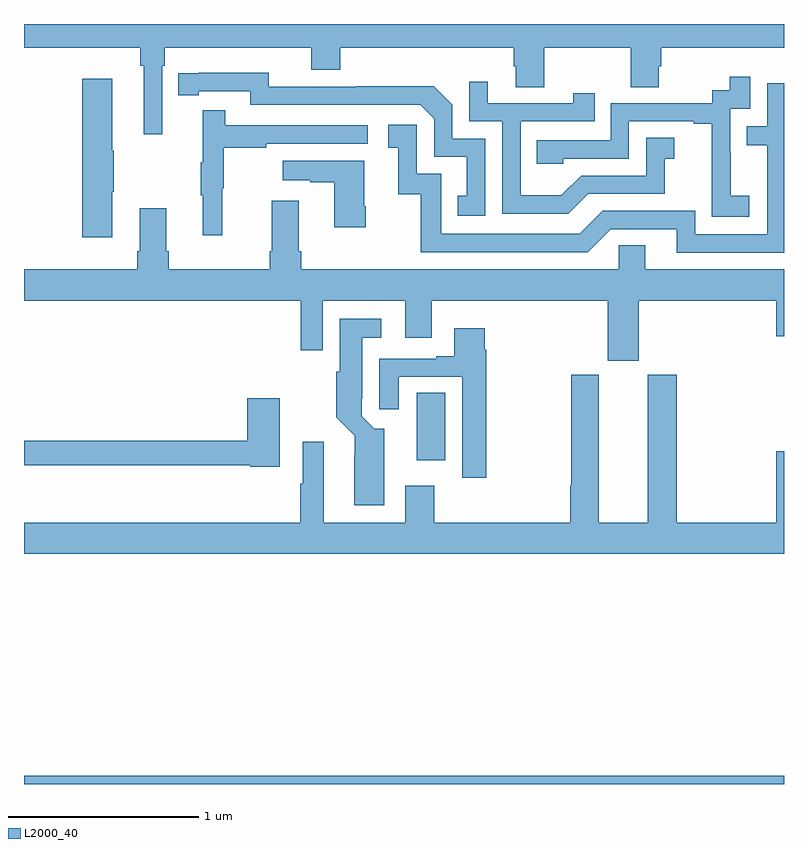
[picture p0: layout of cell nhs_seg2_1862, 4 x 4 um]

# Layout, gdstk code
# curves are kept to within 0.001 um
import gdstk
lib = gdstk.Library(unit=1e-6, precision=1e-09)
def R(c, l, rs):  # rectangles x0, y0, x1, y1
    for r in rs: c.add(gdstk.rectangle(r[:2], r[2:], *l))
def P(c, l, *ps):  # polygons
    for p in ps: c.add(gdstk.Polygon(p, *l))
L2000_40 = (2000, 40)

nhs_seg2_1862 = lib.new_cell('nhs_seg2_1862')
R(nhs_seg2_1862, L2000_40, [(209,603.8,213,603.844), (211.067,605.505,211.216,605.858)])
P(nhs_seg2_1862, L2000_40, [(209.727,607.58),(209.741,607.58),(209.741,607.676),(210.512,607.676),(210.512,607.559),(210.665,607.559),(210.665,607.676),(211.577,607.676),(211.577,607.578),(211.589,607.578),(211.589,607.468),(211.737,607.468),(211.737,607.676),(212.194,607.676),(212.194,607.468),(212.341,607.468),(212.341,607.578),(212.354,607.578),(212.354,607.676),(213,607.676),(213,607.8),(209,607.8),(209,607.676),(209.611,607.676),(209.611,607.58),(209.63,607.58),(209.63,607.221),(209.727,607.221)],
  [(211.428,607.197),(211.254,607.197),(211.254,607.374),(211.156,607.472),(210.748,607.472),(210.748,607.47),(210.288,607.47),(210.288,607.543),(209.812,607.542),(209.812,607.426),(209.92,607.426),(209.92,607.446),(210.192,607.446),(210.192,607.374),(211.086,607.374),(211.158,607.302),(211.158,607.101),(211.331,607.101),(211.331,606.897),(211.282,606.897),(211.282,606.792),(211.428,606.792)],
  [(212.818,606.895),(212.72,606.895),(212.72,607.124),(212.718,607.124),(212.718,607.353),(212.823,607.353),(212.823,607.522),(212.715,607.522),(212.715,607.452),(212.622,607.452),(212.622,607.383),(212.088,607.383),(212.088,607.188),(211.699,607.188),(211.699,607.065),(211.839,607.065),(211.839,607.092),(212.184,607.092),(212.184,607.287),(212.525,607.287),(212.525,607.275),(212.621,607.275),(212.621,606.991),(212.62,606.991),(212.62,606.785),(212.818,606.785)],
  [(209.464,606.916),(209.472,606.916),(209.472,607.133),(209.464,607.133),(209.464,607.513),(209.306,607.513),(209.306,606.678),(209.464,606.678)],
  [(211.969,606.906),(212.373,606.906),(212.373,607.091),(212.422,607.091),(212.422,607.201),(212.274,607.201),(212.274,607.002),(211.932,607.002),(211.828,606.898),(211.614,606.898),(211.614,607.287),(212.003,607.287),(212.003,607.435),(211.892,607.435),(211.892,607.383),(211.441,607.383),(211.441,607.495),(211.344,607.495),(211.344,607.287),(211.518,607.287),(211.518,606.801),(211.864,606.801)],
  [(213,607.488),(212.913,607.488),(212.913,607.263),(212.803,607.263),(212.803,607.162),(212.913,607.162),(212.913,606.693),(212.532,606.693),(212.532,606.816),(212.046,606.816),(211.926,606.696),(211.197,606.696),(211.197,607.011),(211.068,607.011),(211.068,607.27),(210.918,607.27),(210.918,607.149),(210.971,607.149),(210.971,606.903),(211.089,606.903),(211.089,606.6),(211.968,606.6),(212.088,606.72),(212.435,606.72),(212.435,606.597),(213,606.597)],
  [(210.044,606.936),(210.052,606.936),(210.052,607.15),(210.275,607.15),(210.275,607.17),(210.808,607.17),(210.808,607.266),(210.059,607.266),(210.059,607.345),(209.942,607.345),(209.942,607.073),(209.931,607.073),(209.931,606.899),(209.942,606.899),(209.942,606.687),(210.044,606.687)],
  [(210.798,606.841),(210.79,606.841),(210.79,607.081),(210.363,607.081),(210.363,606.977),(210.506,606.977),(210.506,606.967),(210.632,606.967),(210.632,606.729),(210.798,606.729)],
  [(212.236,606.344),(212.96,606.344),(212.96,606.156),(213,606.156),(213,606.508),(212.269,606.508),(212.269,606.635),(212.13,606.635),(212.13,606.508),(210.458,606.508),(210.458,606.604),(210.445,606.604),(210.445,606.871),(210.305,606.871),(210.305,606.604),(210.293,606.604),(210.293,606.508),(209.762,606.508),(209.762,606.604),(209.749,606.604),(209.749,606.829),(209.609,606.829),(209.609,606.604),(209.597,606.604),(209.597,606.508),(209,606.508),(209,606.344),(210.457,606.344),(210.457,606.084),(210.573,606.084),(210.573,606.344),(211.007,606.344),(211.007,606.15),(211.147,606.15),(211.147,606.344),(212.072,606.344),(212.072,606.027),(212.236,606.027)],
  [(210.895,605.67),(210.843,605.67),(210.777,605.736),(210.777,605.83),(210.781,605.83),(210.781,606.149),(210.88,606.149),(210.88,606.25),(210.662,606.25),(210.662,605.97),(210.644,605.97),(210.644,605.729),(210.741,605.632),(210.741,605.534),(210.737,605.534),(210.737,605.267),(210.895,605.267)],
  [(211.434,606.086),(211.426,606.086),(211.426,606.199),(211.265,606.199),(211.265,606.052),(211.169,606.052),(211.169,606.039),(210.869,606.039),(210.869,605.772),(210.973,605.772),(210.973,605.943),(211.307,605.943),(211.307,605.412),(211.434,605.412)],
  [(213,605.551),(212.96,605.551),(212.96,605.176),(212.435,605.176),(212.435,605.955),(212.282,605.955),(212.282,605.176),(212.026,605.176),(212.026,605.955),(211.879,605.955),(211.879,605.372),(211.874,605.372),(211.874,605.176),(211.16,605.176),(211.16,605.371),(211.007,605.371),(211.007,605.176),(210.577,605.176),(210.577,605.602),(210.467,605.602),(210.467,605.381),(210.455,605.381),(210.455,605.176),(209,605.176),(209,605.012),(213,605.012)],
  [(210.346,605.83),(210.176,605.83),(210.176,605.606),(209,605.606),(209,605.478),(210.192,605.478),(210.192,605.47),(210.346,605.47)])

lib.write_gds('nhs_seg2_1862.gds')
